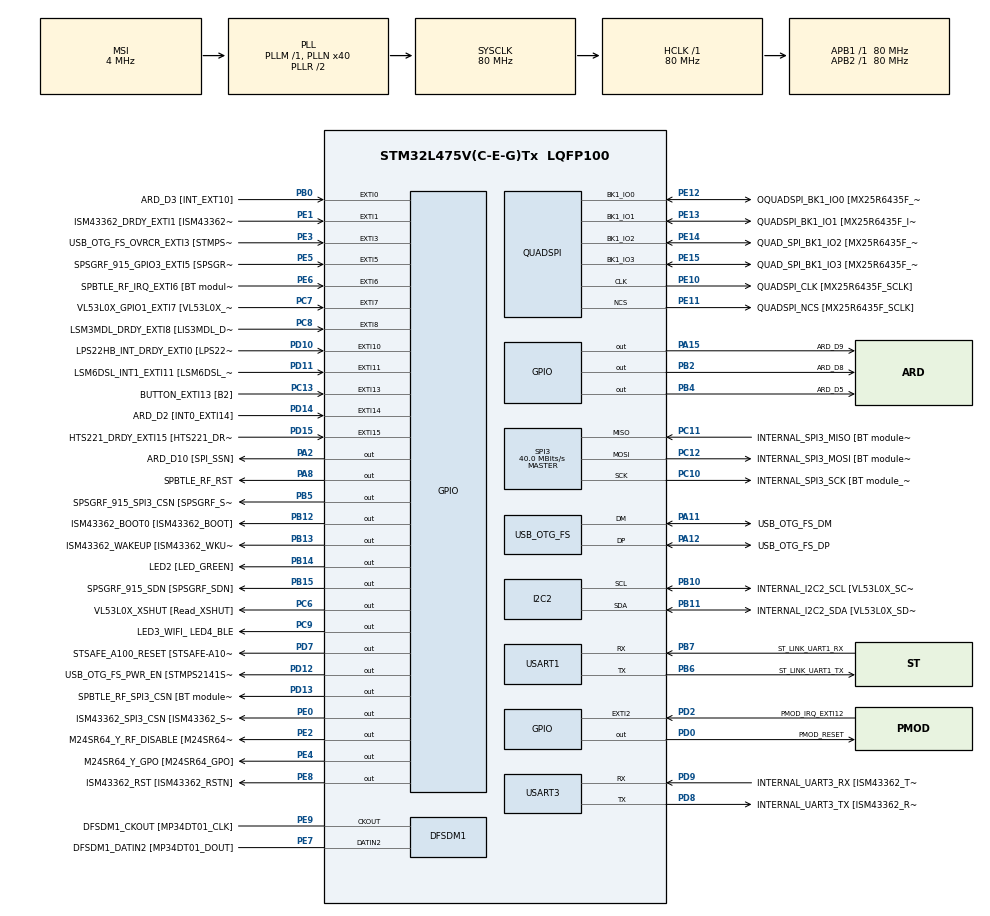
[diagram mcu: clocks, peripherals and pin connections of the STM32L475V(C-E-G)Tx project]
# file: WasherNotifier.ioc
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I2C2.Timing=0x10909CEC
Mcu.Family=STM32L4
Mcu.Name=STM32L475V(C-E-G)Tx
Mcu.Package=LQFP100
NVIC.EXTI15_10_IRQn=true\:0\:0\:false\:false\:true\:true\:true\:true
NVIC.EXTI9_5_IRQn=true\:0\:0\:false\:false\:true\:true\:true\:true
NVIC.PriorityGroup=NVIC_PRIORITYGROUP_4
PA0.GPIO_Label=ARD_D1 [UART4_TX]
PA0.Signal=UART4_TX
PA1.GPIO_Label=ARD_D0 [UART4_RX]
PA1.Signal=UART4_RX
PA10.GPIO_Label=USB_OTG_FS_ID
PA10.Signal=USB_OTG_FS_ID
PA11.GPIO_Label=USB_OTG_FS_DM
PA11.Mode=Device_Only
PA11.Signal=USB_OTG_FS_DM
PA12.GPIO_Label=USB_OTG_FS_DP
PA12.Mode=Device_Only
PA12.Signal=USB_OTG_FS_DP
PA13\ (JTMS-SWDIO).GPIO_Label=SYS_JTMS_SWDIO
PA13\ (JTMS-SWDIO).Mode=Serial_Wire
PA13\ (JTMS-SWDIO).Signal=SYS_JTMS-SWDIO
PA14\ (JTCK-SWCLK).GPIO_Label=SYS_JTCK_SWCLK
PA14\ (JTCK-SWCLK).Mode=Serial_Wire
PA14\ (JTCK-SWCLK).Signal=SYS_JTCK-SWCLK
PA15\ (JTDI).GPIO_Label=ARD_D9
PA15\ (JTDI).Signal=GPIO_Output
PA2.GPIO_Label=ARD_D10 [SPI_SSN]
PA2.Signal=GPIO_Output
PA3.GPIO_Label=ARD_D4
PA3.Signal=S_TIM2_CH4
PA4.GPIO_Label=ARD_D7
PA4.Signal=ADCx_IN9
PA5.GPIO_Label=ARD_D13 [SPI1_SCK]
PA5.Signal=SPI1_SCK
PA6.GPIO_Label=ARD_D12 [SPI1_MISO]
PA6.Signal=SPI1_MISO
PA7.GPIO_Label=ARD_D11 [SPI1_MOSI]
PA7.Signal=SPI1_MOSI
PA8.GPIO_Label=SPBTLE_RF_RST
PA8.Signal=GPIO_Output
PA9.GPIO_Label=USB_OTG_FS_VBUS [STMPS2141STR_OUT]
PA9.Signal=USB_OTG_FS_VBUS
PB0.GPIO_Label=ARD_D3 [INT_EXT10]
PB0.Signal=GPXTI0
PB1.GPIO_Label=ARD_D6 [ADC1_IN6]
PB1.Signal=ADCx_IN16
PB10.GPIO_Label=INTERNAL_I2C2_SCL [VL53L0X_SCL]
PB10.GPIO_Pu=GPIO_PULLUP
PB10.Mode=I2C
PB10.Signal=I2C2_SCL
PB11.GPIO_Label=INTERNAL_I2C2_SDA [VL53L0X_SDA]
PB11.GPIO_Pu=GPIO_PULLUP
PB11.Mode=I2C
PB11.Signal=I2C2_SDA
PB12.GPIO_Label=ISM43362_BOOT0 [ISM43362_BOOT]
PB12.Signal=GPIO_Output
PB13.GPIO_Label=ISM43362_WAKEUP [ISM43362_WKUP]
PB13.Signal=GPIO_Output
PB14.GPIO_Label=LED2 [LED_GREEN]
PB14.GPIO_ModeDefaultOutputPP=GPIO_MODE_OUTPUT_PP
PB14.Signal=GPIO_Output
PB15.GPIO_Label=SPSGRF_915_SDN [SPSGRF_SDN]
PB15.Signal=GPIO_Output
PB2.GPIO_Label=ARD_D8
PB2.Signal=GPIO_Output
PB3\ (JTDO-TRACESWO).GPIO_Label=SYS_JTD0_SWO
PB3\ (JTDO-TRACESWO).Signal=SYS_JTDO-SWO
PB4\ (NJTRST).GPIO_Label=ARD_D5
PB4\ (NJTRST).Signal=GPIO_Output
PB5.GPIO_Label=SPSGRF_915_SPI3_CSN [SPSGRF_SPI_CS]
PB5.PinState=GPIO_PIN_SET
PB5.Signal=GPIO_Output
PB6.GPIO_Label=ST_LINK_UART1_TX
PB6.Mode=Asynchronous
PB6.Signal=USART1_TX
PB7.GPIO_Label=ST_LINK_UART1_RX
PB7.Mode=Asynchronous
PB7.Signal=USART1_RX
PB8.GPIO_Label=ARD_D15 [I2C1_SCL]
PB8.Signal=I2C1_SCL
PB9.GPIO_Label=ARD_D14 [I2C1_SDA]
PB9.Signal=I2C1_SDA
PC0.GPIO_Label=ARD_A5 [ADC]
PC0.Signal=ADCx_IN1
PC1.GPIO_Label=ARD_A4 [ADC]
PC1.Signal=ADCx_IN2
PC10.GPIO_Label=INTERNAL_SPI3_SCK [BT module_SPI_SCLK] [ISM43362_SCK]
PC10.Mode=Full_Duplex_Master
PC10.Signal=SPI3_SCK
PC11.GPIO_Label=INTERNAL_SPI3_MISO [BT module_SPI_MISO] [ISM43362_MISO]
PC11.Mode=Full_Duplex_Master
PC11.Signal=SPI3_MISO
PC12.GPIO_Label=INTERNAL_SPI3_MOSI [BT module_SPI_MOSI] [ISM43362_MOSI]
PC12.Mode=Full_Duplex_Master
PC12.Signal=SPI3_MOSI
PC13.GPIO_Label=BUTTON_EXTI13 [B2]
PC13.GPIO_ModeDefaultEXTI=GPIO_MODE_IT_RISING_FALLING
PC13.GPIO_PuPd=GPIO_PULLUP
PC13.Signal=GPXTI13
PC14-OSC32_IN\ (PC14).Mode=LSE-External-Oscillator
PC14-OSC32_IN\ (PC14).Signal=RCC_OSC32_IN
PC15-OSC32_OUT\ (PC15).Mode=LSE-External-Oscillator
PC15-OSC32_OUT\ (PC15).Signal=RCC_OSC32_OUT
PC2.GPIO_Label=ARD_A3 [ADC]
PC2.Signal=ADCx_IN3
PC3.GPIO_Label=ARD_A2 [ADC]
PC3.Signal=ADCx_IN4
PC4.GPIO_Label=ARD_A1 [ADC]
PC4.Signal=ADCx_IN13
PC5.GPIO_Label=ARD_A0 [ADC]
PC5.Signal=ADCx_IN14
PC6.GPIO_Label=VL53L0X_XSHUT [Read_XSHUT]
PC6.Signal=GPIO_Output
PC7.GPIO_Label=VL53L0X_GPIO1_EXTI7 [VL53L0X_GPIO1]
PC7.Signal=GPXTI7
PC8.GPIO_Label=LSM3MDL_DRDY_EXTI8 [LIS3MDL_DRDY]
PC8.Signal=GPXTI8
PC9.GPIO_Label=LED3_WIFI_ LED4_BLE
PC9.Signal=GPIO_Output
PD0.GPIO_Label=PMOD_RESET
PD0.Signal=GPIO_Output
PD1.GPIO_Label=PMOD_SPI2_SCK
PD1.Signal=SPI2_SCK
PD10.GPIO_Label=LPS22HB_INT_DRDY_EXTI0 [LPS22HB_INT_DRDY] 
PD10.Signal=GPXTI10
PD11.GPIO_Label=LSM6DSL_INT1_EXTI11 [LSM6DSL_INT1]
PD11.Signal=GPXTI11
PD12.GPIO_Label=USB_OTG_FS_PWR_EN [STMPS2141STR_EN]
PD12.Signal=GPIO_Output
PD13.GPIO_Label=SPBTLE_RF_SPI3_CSN [BT module_SPI_CS]
PD13.PinState=GPIO_PIN_SET
PD13.Signal=GPIO_Output
PD14.GPIO_Label=ARD_D2 [INT0_EXTI14]
PD14.Signal=GPXTI14
PD15.GPIO_Label=HTS221_DRDY_EXTI15 [HTS221_DRDY]
PD15.Signal=GPXTI15
PD2.GPIO_Label=PMOD_IRQ_EXTI12
PD2.Signal=GPXTI2
PD3.GPIO_Label=PMOD_UART2_CTS
PD3.Signal=USART2_CTS
PD4.GPIO_Label=PMOD_UART2_RTS
PD4.Signal=USART2_RTS
PD5.GPIO_Label=PMOD_UART2_TX
PD5.Signal=USART2_TX
PD6.GPIO_Label=PMOD_UART2_RX
PD6.Signal=USART2_RX
PD7.GPIO_Label=STSAFE_A100_RESET [STSAFE-A100_RESET]
PD7.Signal=GPIO_Output
PD8.GPIO_Label=INTERNAL_UART3_TX [ISM43362_RX]
PD8.Mode=Asynchronous
PD8.Signal=USART3_TX
PD9.GPIO_Label=INTERNAL_UART3_RX [ISM43362_TX]
PD9.Mode=Asynchronous
PD9.Signal=USART3_RX
PE0.GPIO_Label=ISM43362_SPI3_CSN [ISM43362_SSN]
PE0.PinState=GPIO_PIN_SET
PE0.Signal=GPIO_Output
PE1.GPIO_Label=ISM43362_DRDY_EXTI1 [ISM43362_DATARDY]
PE1.Signal=GPXTI1
PE10.GPIO_Label=QUADSPI_CLK [MX25R6435F_SCLK]
PE10.Mode=Single Bank
PE10.Signal=QUADSPI_CLK
PE11.GPIO_Label=QUADSPI_NCS [MX25R6435F_SCLK]
PE11.Mode=Single Bank
PE11.Signal=QUADSPI_NCS
PE12.GPIO_Label=OQUADSPI_BK1_IO0 [MX25R6435F_IO0]
PE12.Mode=Single Bank
PE12.Signal=QUADSPI_BK1_IO0
PE13.GPIO_Label=QUADSPI_BK1_IO1 [MX25R6435F_IO1]
PE13.Mode=Single Bank
PE13.Signal=QUADSPI_BK1_IO1
PE14.GPIO_Label=QUAD_SPI_BK1_IO2 [MX25R6435F_IO2]
PE14.Mode=Single Bank
PE14.Signal=QUADSPI_BK1_IO2
PE15.GPIO_Label=QUAD_SPI_BK1_IO3 [MX25R6435F_IO3]
PE15.Mode=Single Bank
PE15.Signal=QUADSPI_BK1_IO3
PE2.GPIO_Label=M24SR64_Y_RF_DISABLE [M24SR64_RFDIS]
PE2.Signal=GPIO_Output
PE3.GPIO_Label=USB_OTG_FS_OVRCR_EXTI3 [STMPS2141STR_FAULT]
PE3.Signal=GPXTI3
PE4.GPIO_Label=M24SR64_Y_GPO [M24SR64_GPO]
PE4.Signal=GPIO_Output
PE5.GPIO_Label=SPSGRF_915_GPIO3_EXTI5 [SPSGRF_GPIO_3]
PE5.Signal=GPXTI5
PE6.GPIO_Label=SPBTLE_RF_IRQ_EXTI6 [BT module_SPI_IRQ]
PE6.Signal=GPXTI6
PE7.GPIO_Label=DFSDM1_DATIN2 [MP34DT01_DOUT]
PE7.Signal=S_DATAIN2DFSDM1
PE8.GPIO_Label=ISM43362_RST [ISM43362_RSTN]
PE8.Signal=GPIO_Output
PE9.GPIO_Label=DFSDM1_CKOUT [MP34DT01_CLK]
PE9.Signal=S_CKOUTDFSDM1
ProjectManager.HeapSize=0x200
ProjectManager.StackSize=0x400
ProjectManager.TargetToolchain=STM32CubeIDE
QUADSPI.ClockPrescaler=2
QUADSPI.FifoThreshold=4
QUADSPI.FlashSize=23
QUADSPI.SampleShifting=QSPI_SAMPLE_SHIFTING_HALFCYCLE
RCC.ADCFreq_Value=48000000
RCC.AHBFreq_Value=80000000
RCC.APB1Freq_Value=80000000
RCC.APB1TimFreq_Value=80000000
RCC.APB2Freq_Value=80000000
RCC.APB2TimFreq_Value=80000000
RCC.CortexFreq_Value=80000000
RCC.HCLKFreq_Value=80000000
RCC.HSE_VALUE=8000000
RCC.HSI_VALUE=16000000
RCC.MSI_VALUE=4000000
RCC.PLLN=40
RCC.PLLSAI1N=24
RCC.SYSCLKFreq_VALUE=80000000
RCC.SYSCLKSource=RCC_SYSCLKSOURCE_PLLCLK
RCC.USBFreq_Value=48000000
RCC.VCOOutputFreq_Value=160000000
SH.ADCx_IN1.0=ADC1_IN1
SH.ADCx_IN13.0=ADC1_IN13
SH.ADCx_IN14.0=ADC1_IN14
SH.ADCx_IN16.0=ADC1_IN16
SH.ADCx_IN2.0=ADC1_IN2
SH.ADCx_IN3.0=ADC1_IN3
SH.ADCx_IN4.0=ADC1_IN4
SH.ADCx_IN9.0=ADC1_IN9
SH.S_CKOUTDFSDM1.0=DFSDM1_CKOUT,CKOUT
SH.S_CKOUTDFSDM1.1=DFSDM1_CKOUT,PDM_SPI_Input_from_ch12_and_Internal_Clock
SH.S_DATAIN2DFSDM1.0=DFSDM1_DATIN2,PDM_SPI_Input_from_ch12_and_Internal_Clock
SH.S_TIM2_CH4.0=TIM2_CH4
SPI3.CalculateBaudRate=40.0 MBits/s
SPI3.Direction=SPI_DIRECTION_2LINES
SPI3.Mode=SPI_MODE_MASTER
SPI3.VirtualType=VM_MASTER
USART1.SwapParam=ADVFEATURE_SWAP_DISABLE
USART1.VirtualMode-Asynchronous=VM_ASYNC
USART3.VirtualMode-Asynchronous=VM_ASYNC
USB_OTG_FS.VirtualMode=Device_Only
board=B-L475E-IOT01A2

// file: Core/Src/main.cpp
/* USER CODE BEGIN Header */
/**
 ******************************************************************************
 * @file           : main.cpp
 * @brief          : Main program body
 ******************************************************************************
 * @attention
 *
 * Copyright (c) 2025 STMicroelectronics.
 * All rights reserved.
 *
 * This software is licensed under terms that can be found in the LICENSE file
 * in the root directory of this software component.
 * If no LICENSE file comes with this software, it is provided AS-IS.
 *
 ******************************************************************************
 */
/* USER CODE END Header */
#include "main.h"
#include "../Inc/MotionDetect.h"
#include "../Inc/ArmButton.h"
#include "../Inc/WasherController.h"
#include "../Inc/Fake_Motion.h"

#include "dfsdm.h"
#include "i2c.h"
#include "quadspi.h"
#include "spi.h"
#include "usart.h"
#include "usb_otg.h"
#include "gpio.h"
#include <cmath>
#include <cstdio>
#include <cstdint>
#include <cstring>
#include <sstream>
#include <string>

/* USER CODE BEGIN PV */
extern I2C_HandleTypeDef hi2c2;   // struct for ic2 peripherals, calling in hi2c2
extern UART_HandleTypeDef huart1; // for logging

// system armed/unarmed state (start unarmed)

ArmButton gArmButton(50, 3000);
FakeMotion gMotion;
WasherParams gParams{120000, 30000};

static MotionDetect motion(&hi2c2, &huart1);
/* USER CODE END PV */

void SystemClock_Config(void);

/* USER CODE BEGIN 0 */
static inline void uartPrint(const char* s) {
  HAL_UART_Transmit(&huart1, reinterpret_cast<const uint8_t*>(s),
                    strlen(s), 100);
}

static void setArmedVisual(bool armed) {
  HAL_GPIO_WritePin(GPIOB, GPIO_PIN_14, armed ? GPIO_PIN_SET : GPIO_PIN_RESET);
}

/* USER CODE END 0 */

int main(void)
{

  /* MCU Configuration--------------------------------------------------------*/

  /* Reset of all peripherals, Initializes the Flash interface and the Systick. */
  HAL_Init();

  /* Configure the system clock */
  SystemClock_Config();

  /* Initialize all configured peripherals */
  MX_GPIO_Init();
  MX_DFSDM1_Init();
  MX_I2C2_Init();
  MX_QUADSPI_Init();
  MX_SPI3_Init();
  MX_USART1_UART_Init();
  MX_USART3_UART_Init();
  /* USER CODE BEGIN 2 */
  // ensure LED shows unarmed at startup
  setArmedVisual(false);

  HAL_UART_Transmit(&huart1, (uint8_t *)"Motion logger started\r\n", 23, 100);
  // Probe + init LSM6DSL
  if (!motion.probe())
  {
    HAL_UART_Transmit(&huart1, (uint8_t *)"LSM6DSL not detected\r\n", 22, 100);
    Error_Handler();
  }
  if (!motion.init())
  {
    HAL_UART_Transmit(&huart1, (uint8_t *)"LSM6DSL init failed\r\n", 21, 100);
    Error_Handler();
  }

  motion.setThreshold(0.05f);      // g
  motion.setLogIntervalMs(500);    // ms
  motion.setLogOnChangeOnly(true); // only when state flips

  /* USER CODE END 2 */

  /* Infinite loop */
  while (1)
  {
    /* USER CODE BEGIN 3 */
    // handle button first so state changes take effect immediately
	const uint32_t now = HAL_GetTick();
	gArmButton.poll(now);
	const auto ev = gArmButton.consumeEvent();
	//if (ev.long_press){
		//toggleArmOnLongPress();
	//}

    // only sample/log motion when armed
    //if (gArmState == ArmState::Armed)
    //{
    motion.update();
    //}

    HAL_Delay(50); // wait 50ms, running at 20 Hz
  }
  /* USER CODE END 3 */
}

void SystemClock_Config(void)
{
  RCC_OscInitTypeDef RCC_OscInitStruct = {0};
  RCC_ClkInitTypeDef RCC_ClkInitStruct = {0};

  /** Configure the main internal regulator output voltage
   */
  if (HAL_PWREx_ControlVoltageScaling(PWR_REGULATOR_VOLTAGE_SCALE1) != HAL_OK)
  {
    Error_Handler();
  }

  /** Configure LSE Drive Capability
   */
  HAL_PWR_EnableBkUpAccess();
  __HAL_RCC_LSEDRIVE_CONFIG(RCC_LSEDRIVE_LOW);

  /** Initializes the RCC Oscillators according to the specified parameters
   * in the RCC_OscInitTypeDef structure.
   */
  RCC_OscInitStruct.OscillatorType = RCC_OSCILLATORTYPE_LSE | RCC_OSCILLATORTYPE_MSI;
  RCC_OscInitStruct.LSEState = RCC_LSE_ON;
  RCC_OscInitStruct.MSIState = RCC_MSI_ON;
  RCC_OscInitStruct.MSICalibrationValue = 0;
  RCC_OscInitStruct.MSIClockRange = RCC_MSIRANGE_6;
  RCC_OscInitStruct.PLL.PLLState = RCC_PLL_ON;
  RCC_OscInitStruct.PLL.PLLSource = RCC_PLLSOURCE_MSI;
  RCC_OscInitStruct.PLL.PLLM = 1;
  RCC_OscInitStruct.PLL.PLLN = 40;
  RCC_OscInitStruct.PLL.PLLP = RCC_PLLP_DIV7;
  RCC_OscInitStruct.PLL.PLLQ = RCC_PLLQ_DIV2;
  RCC_OscInitStruct.PLL.PLLR = RCC_PLLR_DIV2;
  if (HAL_RCC_OscConfig(&RCC_OscInitStruct) != HAL_OK)
  {
    Error_Handler();
  }

  /** Initializes the CPU, AHB and APB buses clocks
   */
  RCC_ClkInitStruct.ClockType = RCC_CLOCKTYPE_HCLK | RCC_CLOCKTYPE_SYSCLK | RCC_CLOCKTYPE_PCLK1 | RCC_CLOCKTYPE_PCLK2;
  RCC_ClkInitStruct.SYSCLKSource = RCC_SYSCLKSOURCE_PLLCLK;
  RCC_ClkInitStruct.AHBCLKDivider = RCC_SYSCLK_DIV1;
  RCC_ClkInitStruct.APB1CLKDivider = RCC_HCLK_DIV1;
  RCC_ClkInitStruct.APB2CLKDivider = RCC_HCLK_DIV1;

  if (HAL_RCC_ClockConfig(&RCC_ClkInitStruct, FLASH_LATENCY_4) != HAL_OK)
  {
    Error_Handler();
  }

  /** Enable MSI Auto calibration
   */
  HAL_RCCEx_EnableMSIPLLMode();
}

/* USER CODE BEGIN 4 */
extern "C" void HAL_GPIO_EXTI_Callback(uint16_t GPIO_Pin)
{
  if (GPIO_Pin == GPIO_PIN_13)
  {
    gArmButton.onIsrEdge();
  }
}
/* USER CODE END 4 */

void Error_Handler(void)
{
  __disable_irq();
  while (1)
  {
  }
}
